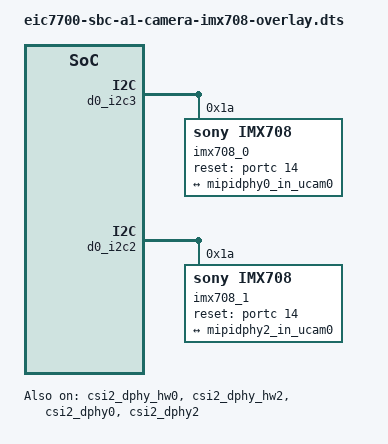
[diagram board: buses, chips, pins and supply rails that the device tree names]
/dts-v1/;
/plugin/;

/ {
	fragment@0 {
		target =  <&vi_subsys>;
		__overlay__ {
			phy_mode = <5>;
		};
	};

	fragment@1 {
		target =  <&imx219_0>;
		__overlay__ { 
			status = "disabled";
		};
	};

	fragment@2 {
		target =  <&imx219_1>;
		__overlay__ { 
			status = "disabled";
		};
	};

	fragment@3 { 
		target = <&csi2_dphy_hw0>;
		__overlay__ {
			lanes = <1 2>;
			lanes-dp-dn = <0 0>; 
			status = "okay";
		};
	};

	fragment@4 { 
		target = <&csi2_dphy_hw2>;
		__overlay__ {
			lanes = <1 2>;
			lanes-dp-dn = <0 0>; 
			status = "okay";
		};
	};

	fragment@5 { 
		target = <&mipidphy0_in_ucam0>;
		__overlay__ {
			remote-endpoint = <&imx708_out0>;
			data-lanes = <1 2 3 4>;
		};
	};

	fragment@6 {
		target = <&mipidphy2_in_ucam0>;
		__overlay__ {
			remote-endpoint = <&imx708_out1>;
			data-lanes = <1 2 3 4>;
		};
	};

	fragment@7 {
		target = <&csi2_dphy0>;
		__overlay__ {
			status = "okay";
		};
	};

	fragment@8 {
		target = <&csi2_dphy2>;
		__overlay__ {
			status = "okay";
		};
	};

	fragment@9 {
		target =  <&d0_i2c3>;
		__overlay__ {
			#address-cells = <1>;
			#size-cells = <0>;
			imx708_0:imx708_0@1a {
				compatible = "sony,imx708";
				reg = <0x1a>;
				clock-names="inclk";
				clocks = <&d0_clock 0x244>;
				assigned-clocks = <&d0_clock 0x244>;
				assigned-clock-rates = <24000000>;
				pinctrl-names = "default";
				pinctrl-0 = <&pinctrl_gpio72_default>;
				reset-gpio = <&portc 14 0x0>;
				status = "okay";
				port {
					imx708_out0: endpoint {
						remote-endpoint = <&mipidphy0_in_ucam0>;
						data-lanes = <1 2>;
						link-frequencies = /bits/ 64 <450000000>;
					};
				};
			};
		};
	};

	fragment@10 {
		target =  <&d0_i2c2>;
		__overlay__ {
			#address-cells = <1>;
			#size-cells = <0>;
			imx708_1:imx708_1@1a {
				compatible = "sony,imx708";
				reg = <0x1a>;
				clock-names="inclk";
				clocks = <&d0_clock 0x244>;
				assigned-clocks = <&d0_clock 0x244>;
				assigned-clock-rates = <24000000>;
				pinctrl-names = "default";
				pinctrl-0 = <&pinctrl_gpio78_default>;
				reset-gpio = <&portc 14 0x0>;
				status = "okay";
				port {
					imx708_out1: endpoint {
						remote-endpoint = <&mipidphy2_in_ucam0>;
						data-lanes = <1 2>;
						link-frequencies = /bits/ 64 <450000000>;
					};
				};
			};
		};
	};
};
